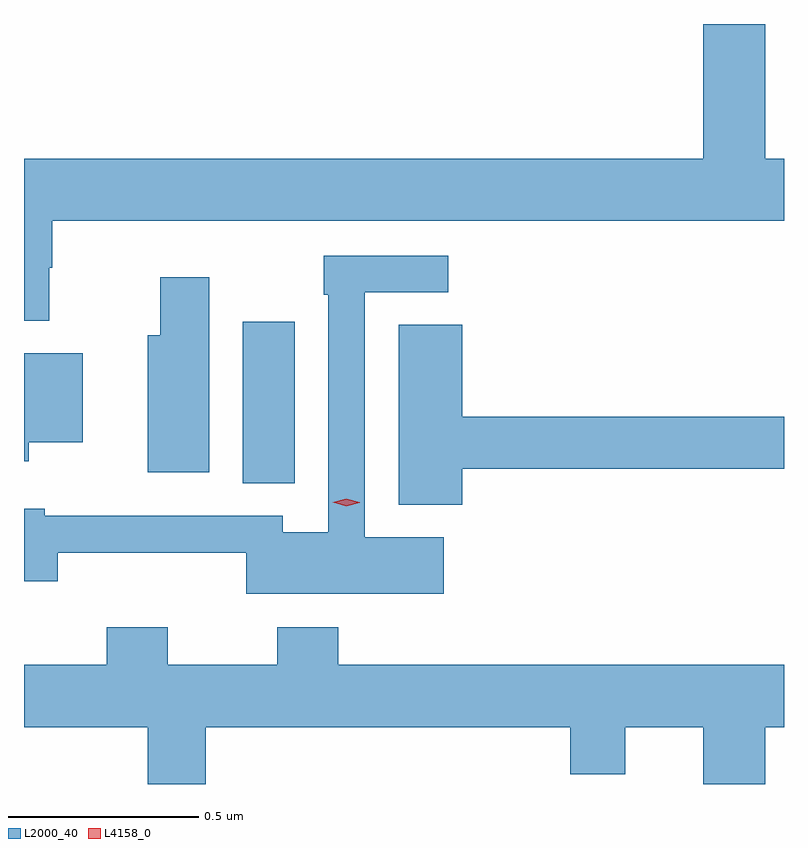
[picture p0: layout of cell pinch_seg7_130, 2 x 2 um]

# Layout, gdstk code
import gdstk
lib = gdstk.Library(unit=1e-6, precision=1e-09)
def R(c, l, rs):  # rectangles x0, y0, x1, y1
    for r in rs: c.add(gdstk.rectangle(r[:2], r[2:], *l))
def P(c, l, *ps):  # polygons
    for p in ps: c.add(gdstk.Polygon(p, *l))
L2000_40 = (2000, 40)
L4158_0 = (4158, 0)

pinch_seg7_130 = lib.new_cell('pinch_seg7_130')
R(pinch_seg7_130, L2000_40, [(978.98,1003.921,979.117,1004.347)])
P(pinch_seg7_130, L2000_40, [(978.472,1004.489),(978.479,1004.489),(978.479,1004.612),(980.405,1004.612),(980.405,1004.776),(980.356,1004.776),(980.356,1005.13),(980.192,1005.13),(980.192,1004.776),(978.405,1004.776),(978.405,1004.349),(978.472,1004.349)],
  [(979.51,1003.78),(979.302,1003.78),(979.302,1004.424),(979.522,1004.424),(979.522,1004.52),(979.194,1004.52),(979.194,1004.417),(979.206,1004.417),(979.206,1003.792),(979.086,1003.792),(979.086,1003.836),(978.459,1003.836),(978.459,1003.854),(978.405,1003.854),(978.405,1003.664),(978.494,1003.664),(978.494,1003.739),(978.99,1003.739),(978.99,1003.631),(979.51,1003.631)],
  [(978.892,1004.464),(978.763,1004.464),(978.763,1004.311),(978.731,1004.311),(978.731,1003.95),(978.892,1003.95)],
  [(979.558,1003.96),(980.405,1003.96),(980.405,1004.096),(979.558,1004.096),(979.558,1004.339),(979.391,1004.339),(979.391,1003.865),(979.558,1003.865)],
  [(978.417,1004.03),(978.559,1004.03),(978.559,1004.263),(978.405,1004.263),(978.405,1003.98),(978.417,1003.98)],
  [(978.883,1003.28),(979.843,1003.28),(979.843,1003.156),(979.987,1003.156),(979.987,1003.28),(980.192,1003.28),(980.192,1003.13),(980.356,1003.13),(980.356,1003.28),(980.405,1003.28),(980.405,1003.444),(979.232,1003.444),(979.232,1003.543),(979.072,1003.543),(979.072,1003.444),(978.783,1003.444),(978.783,1003.543),(978.623,1003.543),(978.623,1003.444),(978.405,1003.444),(978.405,1003.28),(978.731,1003.28),(978.731,1003.13),(978.883,1003.13)])
P(pinch_seg7_130, L4158_0, [(979.253,1003.861),(979.218,1003.872),(979.218,1003.872),(979.218,1003.872),(979.253,1003.881),(979.288,1003.871),(979.288,1003.871),(979.288,1003.87)])

lib.write_gds('pinch_seg7_130.gds')
